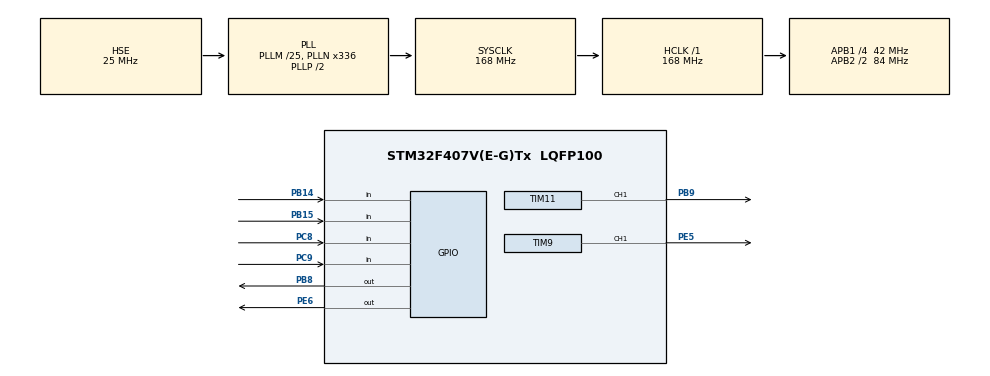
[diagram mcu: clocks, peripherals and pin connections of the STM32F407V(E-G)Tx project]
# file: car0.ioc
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Mcu.Family=STM32F4
Mcu.Name=STM32F407V(E-G)Tx
Mcu.Package=LQFP100
NVIC.PriorityGroup=NVIC_PRIORITYGROUP_4
PA13.Mode=Serial_Wire
PA13.Signal=SYS_JTMS-SWDIO
PA14.Mode=Serial_Wire
PA14.Signal=SYS_JTCK-SWCLK
PB14.Signal=GPIO_Input
PB15.Signal=GPIO_Input
PB8.Signal=GPIO_Output
PB9.Signal=S_TIM11_CH1
PC8.Signal=GPIO_Input
PC9.Signal=GPIO_Input
PE5.Signal=S_TIM9_CH1
PE6.Signal=GPIO_Output
PH0-OSC_IN.Mode=HSE-External-Oscillator
PH0-OSC_IN.Signal=RCC_OSC_IN
PH1-OSC_OUT.Mode=HSE-External-Oscillator
PH1-OSC_OUT.Signal=RCC_OSC_OUT
ProjectManager.HeapSize=0x200
ProjectManager.StackSize=0x400
ProjectManager.TargetToolchain=MDK-ARM V5.27
RCC.48MHZClocksFreq_Value=84000000
RCC.AHBFreq_Value=168000000
RCC.APB1CLKDivider=RCC_HCLK_DIV4
RCC.APB1Freq_Value=42000000
RCC.APB1TimFreq_Value=84000000
RCC.APB2CLKDivider=RCC_HCLK_DIV2
RCC.APB2Freq_Value=84000000
RCC.APB2TimFreq_Value=168000000
RCC.CortexFreq_Value=168000000
RCC.HCLKFreq_Value=168000000
RCC.HSE_VALUE=25000000
RCC.HSI_VALUE=16000000
RCC.LSE_VALUE=32768
RCC.PLLM=25
RCC.PLLN=336
RCC.PLLSourceVirtual=RCC_PLLSOURCE_HSE
RCC.SYSCLKFreq_VALUE=168000000
RCC.SYSCLKSource=RCC_SYSCLKSOURCE_PLLCLK
RCC.VCOOutputFreq_Value=336000000
SH.S_TIM11_CH1.0=TIM11_CH1,PWM Generation1 CH1
SH.S_TIM9_CH1.0=TIM9_CH1,PWM Generation1 CH1
TIM11.AutoReloadPreload=TIM_AUTORELOAD_PRELOAD_ENABLE
TIM11.Channel=TIM_CHANNEL_1
TIM11.Period=20000-1
TIM11.Prescaler=168-1
TIM9.AutoReloadPreload=TIM_AUTORELOAD_PRELOAD_ENABLE
TIM9.Channel-PWM\ Generation1\ CH1=TIM_CHANNEL_1
TIM9.Period=20000-1
TIM9.Prescaler=168-1
VP_TIM11_VS_ClockSourceINT.Mode=Enable_Timer
VP_TIM9_VS_ClockSourceINT.Mode=Internal
board=custom

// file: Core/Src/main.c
/* USER CODE BEGIN Header */
/**
  ******************************************************************************
  * @file           : main.c
  * @brief          : Main program body
  ******************************************************************************
  * @attention
  *
  * <h2><center>&copy; Copyright (c) 2024 STMicroelectronics.
  * All rights reserved.</center></h2>
  *
  * This software component is licensed by ST under BSD 3-Clause license,
  * the "License"; You may not use this file except in compliance with the
  * License. You may obtain a copy of the License at:
  *                        opensource.org/licenses/BSD-3-Clause
  *
  ******************************************************************************
  */
/* USER CODE END Header */
#include "main.h"
#include "tim.h"
#include "gpio.h"

void SystemClock_Config(void);

/* USER CODE BEGIN 0 */
void run()
{
	HAL_TIM_PWM_Start(&htim11,TIM_CHANNEL_1);
	__HAL_TIM_SET_COMPARE(&htim11, TIM_CHANNEL_1, 10000);
	HAL_GPIO_WritePin(GPIOB,GPIO_PIN_8,GPIO_PIN_RESET);
	HAL_TIM_PWM_Start(&htim9,TIM_CHANNEL_1);
	__HAL_TIM_SET_COMPARE(&htim9, TIM_CHANNEL_1, 0);
	HAL_GPIO_WritePin(GPIOE,GPIO_PIN_6,GPIO_PIN_SET);
}
void back()
{
	HAL_TIM_PWM_Start(&htim11,TIM_CHANNEL_1);
	__HAL_TIM_SET_COMPARE(&htim11, TIM_CHANNEL_1, 0);
	HAL_GPIO_WritePin(GPIOB,GPIO_PIN_8,GPIO_PIN_SET);
	HAL_TIM_PWM_Start(&htim9,TIM_CHANNEL_1);
	__HAL_TIM_SET_COMPARE(&htim9, TIM_CHANNEL_1, 0);
	HAL_GPIO_WritePin(GPIOE,GPIO_PIN_6,GPIO_PIN_SET);
}
void right()
{
	HAL_TIM_PWM_Start(&htim11,TIM_CHANNEL_1);
	__HAL_TIM_SET_COMPARE(&htim11, TIM_CHANNEL_1, 10000);
	HAL_GPIO_WritePin(GPIOB,GPIO_PIN_8,GPIO_PIN_RESET);
	HAL_TIM_PWM_Start(&htim9,TIM_CHANNEL_1);
	__HAL_TIM_SET_COMPARE(&htim9, TIM_CHANNEL_1, 0);
	HAL_GPIO_WritePin(GPIOE,GPIO_PIN_6,GPIO_PIN_RESET);
}
void left()
{
	HAL_TIM_PWM_Start(&htim11,TIM_CHANNEL_1);
	__HAL_TIM_SET_COMPARE(&htim11, TIM_CHANNEL_1, 0);
	HAL_GPIO_WritePin(GPIOB,GPIO_PIN_8,GPIO_PIN_RESET);
	HAL_TIM_PWM_Start(&htim9,TIM_CHANNEL_1);
	__HAL_TIM_SET_COMPARE(&htim9, TIM_CHANNEL_1, 10000);
	HAL_GPIO_WritePin(GPIOE,GPIO_PIN_6,GPIO_PIN_RESET);
}

void stop()
{
	HAL_TIM_PWM_Start(&htim11,TIM_CHANNEL_1);
	__HAL_TIM_SET_COMPARE(&htim11, TIM_CHANNEL_1, 0);
	HAL_GPIO_WritePin(GPIOB,GPIO_PIN_8,GPIO_PIN_RESET);
	HAL_TIM_PWM_Start(&htim9,TIM_CHANNEL_1);
	__HAL_TIM_SET_COMPARE(&htim9, TIM_CHANNEL_1, 0);
	HAL_GPIO_WritePin(GPIOE,GPIO_PIN_6,GPIO_PIN_RESET);
}
/* USER CODE END 0 */

int main(void)
{

  /* MCU Configuration--------------------------------------------------------*/

  /* Reset of all peripherals, Initializes the Flash interface and the Systick. */
  HAL_Init();

  /* Configure the system clock */
  SystemClock_Config();

  /* Initialize all configured peripherals */
  MX_GPIO_Init();
  MX_TIM9_Init();
  MX_TIM11_Init();

  /* Infinite loop */
  while (1)
  {
if(HAL_GPIO_ReadPin(GPIOB,GPIO_PIN_15)==GPIO_PIN_SET&&HAL_GPIO_ReadPin(GPIOC,GPIO_PIN_9)==GPIO_PIN_SET&&HAL_GPIO_ReadPin(GPIOC,GPIO_PIN_8)==GPIO_PIN_SET&&HAL_GPIO_ReadPin(GPIOB,GPIO_PIN_14)==GPIO_PIN_SET)
					{
							 run();
					}

					else if(HAL_GPIO_ReadPin(GPIOB,GPIO_PIN_15)==GPIO_PIN_RESET&&HAL_GPIO_ReadPin(GPIOC,GPIO_PIN_9)==GPIO_PIN_RESET&&HAL_GPIO_ReadPin(GPIOC,GPIO_PIN_8)==GPIO_PIN_SET&&HAL_GPIO_ReadPin(GPIOB,GPIO_PIN_14)==GPIO_PIN_SET)
					{

							right();
					}

					else if(HAL_GPIO_ReadPin(GPIOB,GPIO_PIN_15)==GPIO_PIN_SET&&HAL_GPIO_ReadPin(GPIOC,GPIO_PIN_9)==GPIO_PIN_SET&&HAL_GPIO_ReadPin(GPIOC,GPIO_PIN_8)==GPIO_PIN_RESET&&HAL_GPIO_ReadPin(GPIOB,GPIO_PIN_14)==GPIO_PIN_RESET)
					{

							left();
					}

		      else if(HAL_GPIO_ReadPin(GPIOB,GPIO_PIN_15)==GPIO_PIN_RESET&&HAL_GPIO_ReadPin(GPIOC,GPIO_PIN_9)==GPIO_PIN_RESET&&HAL_GPIO_ReadPin(GPIOC,GPIO_PIN_8)==GPIO_PIN_RESET&&HAL_GPIO_ReadPin(GPIOB,GPIO_PIN_14)==GPIO_PIN_RESET)
					{
							run();
					}
					else
						stop();
  }
}

void SystemClock_Config(void)
{
  RCC_OscInitTypeDef RCC_OscInitStruct = {0};
  RCC_ClkInitTypeDef RCC_ClkInitStruct = {0};

  /** Configure the main internal regulator output voltage
  */
  __HAL_RCC_PWR_CLK_ENABLE();
  __HAL_PWR_VOLTAGESCALING_CONFIG(PWR_REGULATOR_VOLTAGE_SCALE1);
  /** Initializes the RCC Oscillators according to the specified parameters
  * in the RCC_OscInitTypeDef structure.
  */
  RCC_OscInitStruct.OscillatorType = RCC_OSCILLATORTYPE_HSE;
  RCC_OscInitStruct.HSEState = RCC_HSE_ON;
  RCC_OscInitStruct.PLL.PLLState = RCC_PLL_ON;
  RCC_OscInitStruct.PLL.PLLSource = RCC_PLLSOURCE_HSE;
  RCC_OscInitStruct.PLL.PLLM = 25;
  RCC_OscInitStruct.PLL.PLLN = 336;
  RCC_OscInitStruct.PLL.PLLP = RCC_PLLP_DIV2;
  RCC_OscInitStruct.PLL.PLLQ = 4;
  if (HAL_RCC_OscConfig(&RCC_OscInitStruct) != HAL_OK)
  {
    Error_Handler();
  }
  /** Initializes the CPU, AHB and APB buses clocks
  */
  RCC_ClkInitStruct.ClockType = RCC_CLOCKTYPE_HCLK|RCC_CLOCKTYPE_SYSCLK
                              |RCC_CLOCKTYPE_PCLK1|RCC_CLOCKTYPE_PCLK2;
  RCC_ClkInitStruct.SYSCLKSource = RCC_SYSCLKSOURCE_PLLCLK;
  RCC_ClkInitStruct.AHBCLKDivider = RCC_SYSCLK_DIV1;
  RCC_ClkInitStruct.APB1CLKDivider = RCC_HCLK_DIV4;
  RCC_ClkInitStruct.APB2CLKDivider = RCC_HCLK_DIV2;

  if (HAL_RCC_ClockConfig(&RCC_ClkInitStruct, FLASH_LATENCY_5) != HAL_OK)
  {
    Error_Handler();
  }
}

void Error_Handler(void)
{
  __disable_irq();
  while (1)
  {
  }
}

/************************ (C) COPYRIGHT STMicroelectronics *****END OF FILE****/
